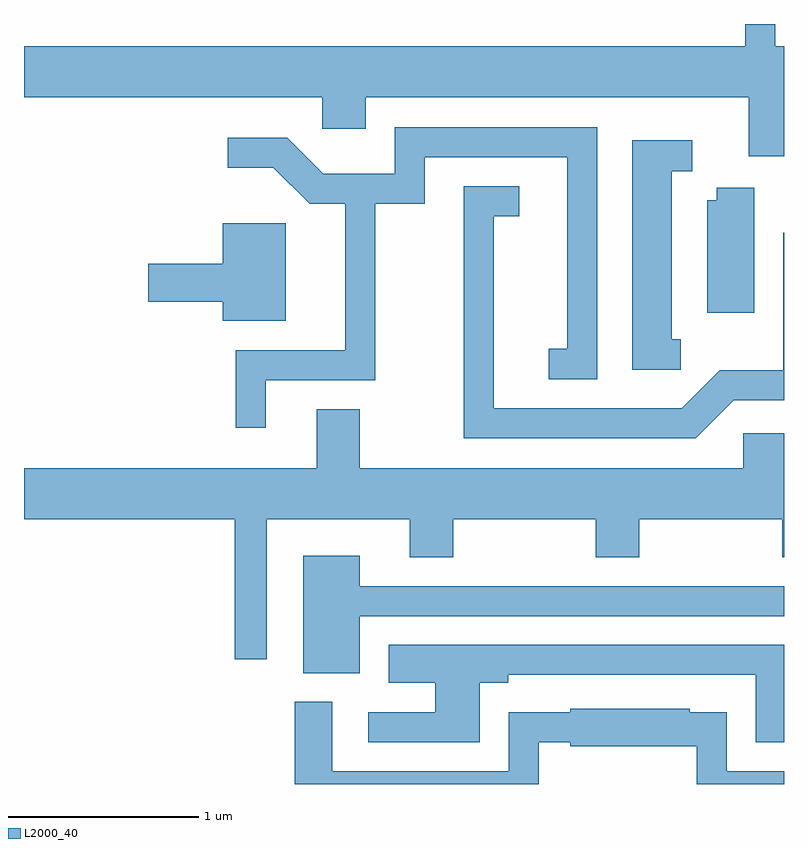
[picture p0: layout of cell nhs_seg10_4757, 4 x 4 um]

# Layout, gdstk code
import gdstk
lib = gdstk.Library(unit=1e-6, precision=1e-09)
def P(c, l, *ps):  # polygons
    for p in ps: c.add(gdstk.Polygon(p, *l))
L2000_40 = (2000, 40)

nhs_seg10_4757 = lib.new_cell('nhs_seg10_4757')
P(nhs_seg10_4757, L2000_40, [(329.611,2116.404),(329.564,2116.404),(329.564,2116.522),(329.406,2116.522),(329.406,2116.404),(325.611,2116.404),(325.611,2116.136),(327.181,2116.136),(327.181,2115.971),(327.409,2115.971),(327.409,2116.136),(329.426,2116.136),(329.426,2115.826),(329.611,2115.826)],
  [(326.884,2114.646),(327.459,2114.646),(327.459,2115.576),(327.719,2115.576),(327.719,2115.821),(328.471,2115.821),(328.471,2114.814),(328.373,2114.814),(328.373,2114.651),(328.629,2114.651),(328.629,2115.979),(327.561,2115.979),(327.561,2115.734),(327.187,2115.734),(326.997,2115.924),(326.683,2115.924),(326.683,2115.766),(326.924,2115.766),(327.114,2115.576),(327.301,2115.576),(327.301,2114.804),(326.726,2114.804),(326.726,2114.398),(326.884,2114.398)],
  [(329.068,2114.864),(329.019,2114.864),(329.019,2115.746),(329.128,2115.746),(329.128,2115.909),(328.811,2115.909),(328.811,2114.701),(329.068,2114.701)],
  [(329.347,2114.541),(329.611,2114.541),(329.611,2115.424),(329.606,2115.424),(329.606,2114.699),(329.274,2114.699),(329.074,2114.499),(328.084,2114.499),(328.084,2115.511),(328.218,2115.511),(328.218,2115.669),(327.926,2115.669),(327.926,2114.341),(329.147,2114.341)],
  [(329.454,2115.659),(329.256,2115.659),(329.256,2115.594),(329.206,2115.594),(329.206,2115.001),(329.454,2115.001)],
  [(326.989,2115.474),(326.656,2115.474),(326.656,2115.259),(326.266,2115.259),(326.266,2115.061),(326.656,2115.061),(326.656,2114.961),(326.989,2114.961)],
  [(327.379,2114.494),(327.151,2114.494),(327.151,2114.184),(325.611,2114.184),(325.611,2113.916),(326.721,2113.916),(326.721,2113.178),(326.889,2113.178),(326.889,2113.916),(327.641,2113.916),(327.641,2113.716),(327.869,2113.716),(327.869,2113.916),(328.621,2113.916),(328.621,2113.716),(328.849,2113.716),(328.849,2113.916),(329.601,2113.916),(329.601,2113.716),(329.611,2113.716),(329.611,2114.369),(329.396,2114.369),(329.396,2114.184),(327.379,2114.184)],
  [(327.379,2113.406),(329.611,2113.406),(329.611,2113.564),(327.379,2113.564),(327.379,2113.724),(327.081,2113.724),(327.081,2113.106),(327.379,2113.106)],
  [(328.009,2113.056),(328.159,2113.056),(328.159,2113.096),(329.461,2113.096),(329.461,2112.741),(329.611,2112.741),(329.611,2113.254),(327.531,2113.254),(327.531,2113.056),(327.776,2113.056),(327.776,2112.899),(327.423,2112.899),(327.423,2112.741),(328.009,2112.741)],
  [(328.319,2112.741),(328.486,2112.741),(328.486,2112.721),(329.151,2112.721),(329.151,2112.522),(329.611,2112.522),(329.611,2112.589),(329.309,2112.589),(329.309,2112.899),(329.114,2112.899),(329.114,2112.919),(328.486,2112.919),(328.486,2112.899),(328.161,2112.899),(328.161,2112.589),(327.234,2112.589),(327.234,2112.954),(327.036,2112.954),(327.036,2112.522),(328.319,2112.522)])

lib.write_gds('nhs_seg10_4757.gds')
